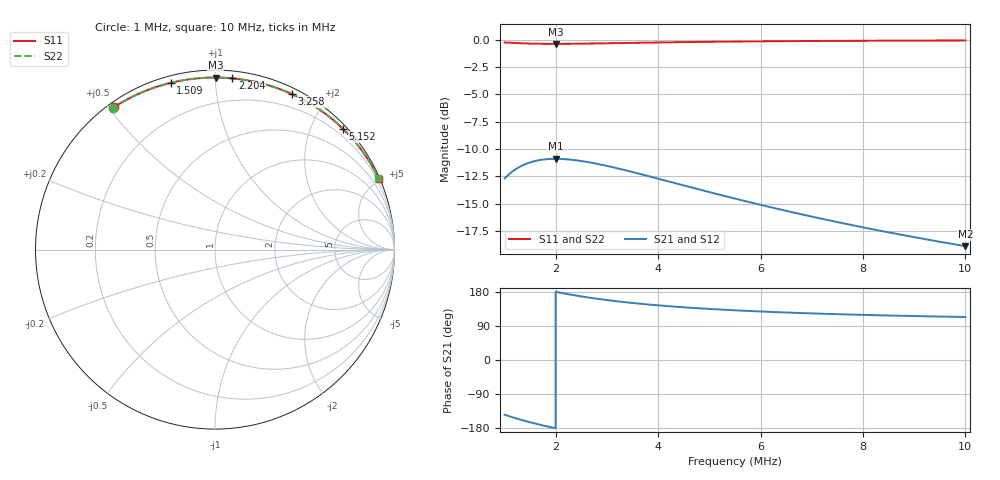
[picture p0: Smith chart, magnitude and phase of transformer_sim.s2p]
! AWR Design Environment (19348) Wed Jan 14 17:03:37 2026
! Document = 'Transformer Model'
! nPorts: 2, nXvals: 10001
# MHz S DB R 50
!Freq DBS11 AngS11 DBS21 AngS21 DBS12 AngS12 DBS22 AngS22
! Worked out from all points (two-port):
!   10001 points, 1 MHz to 10 MHz, reference 50 ohm
!   highest |S21| = -10.90 dB at 1.995 MHz (marker M1); lowest = -18.9 dB at 10 MHz (marker M2)
!   |S21| within 3 dB of the highest: start of sweep to 4.958 MHz
!   lowest |S11| = -0.4 dB at 1.995 MHz (marker M3), VSWR 47.23, Z = 2.13 + j50.2 ohm
!   |S11| at or under -10 dB: nowhere
!   |S22| runs from -0.4 to -0.1 dB; largest |S21 - S12| = 0
!   S11 on the Smith chart (normalised r, x): 1 MHz: 0.02, +0.52; 1.509 MHz: 0.03, +0.77; 2.204 MHz: 0.05, +1.10; 3.258 MHz: 0.06, +1.61; 5.152 MHz: 0.07, +2.51; 10 MHz: 0.08, +4.84
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1  -0.24 125.4  -12.70 -144.4  -12.70 -144.4  -0.24 125.8
1.0405  -0.25 123.6  -12.51 -146.2  -12.51 -146.2  -0.25 124.0
1.1485  -0.28 118.9  -12.08 -150.9  -12.08 -150.9  -0.28 119.4
1.2601  -0.30 114.3  -11.73 -155.5  -11.73 -155.5  -0.30 114.8
1.3816  -0.32 109.6  -11.43 -160.2  -11.43 -160.2  -0.32 110.1
1.5094  -0.34 104.9  -11.21 -164.8  -11.21 -164.8  -0.34 105.4
1.7389  -0.36 97.3  -10.98 -172.5  -10.98 -172.5  -0.36 97.8
1.9954  -0.37 89.7  -10.90 -180.0  -10.90 -180.0  -0.37 90.3
2.2042  -0.36 84.3  -10.94 174.6  -10.94 174.6  -0.36 84.8
2.5003  -0.35 77.4  -11.10 167.7  -11.10 167.7  -0.35 78.0
2.8657  -0.33 70.2  -11.42 160.5  -11.42 160.5  -0.33 70.8
3.2581  -0.29 63.7  -11.83 153.9  -11.83 153.9  -0.29 64.2
3.6154  -0.27 58.6  -12.25 148.9  -12.25 148.9  -0.27 59.1
4.0006  -0.24 54.0  -12.72 144.2  -12.72 144.2  -0.24 54.4
4.5442  -0.20 48.4  -13.40 138.6  -13.40 138.6  -0.20 48.8
5.1517  -0.17 43.4  -14.14 133.6  -14.14 133.6  -0.17 43.8
5.5  -0.16 40.9  -14.55 131.1  -14.55 131.1  -0.16 41.3
6.2029  -0.13 36.7  -15.35 126.8  -15.35 126.8  -0.13 37.0
7.0003  -0.11 32.8  -16.20 122.9  -16.20 122.9  -0.11 33.1
7.7095  -0.09 29.9  -16.91 120.1  -16.91 120.1  -0.09 30.2
8.5006  -0.08 27.3  -17.64 117.4  -17.64 117.4  -0.08 27.5
10  -0.06 23.3  -18.91 113.4  -18.91 113.4  -0.06 23.6
